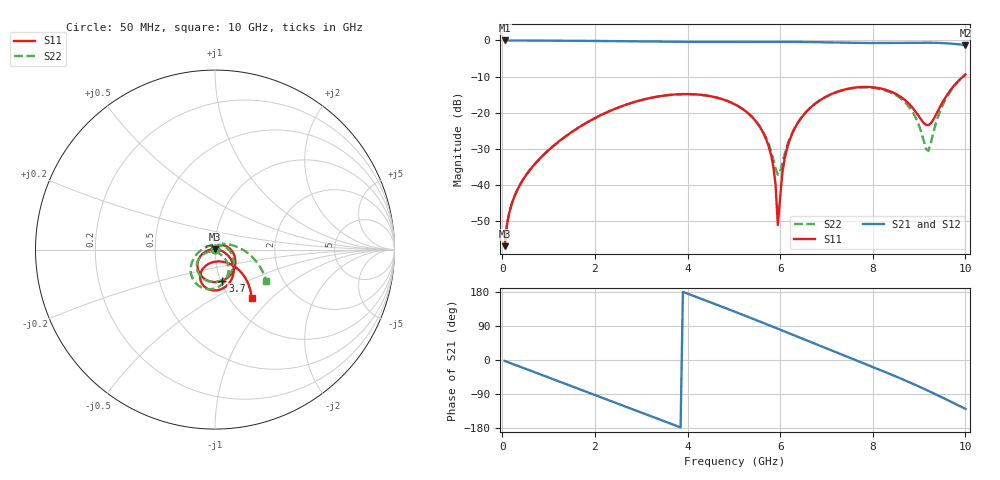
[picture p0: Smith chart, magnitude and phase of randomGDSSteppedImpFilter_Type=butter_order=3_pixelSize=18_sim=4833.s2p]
! freq	dB(S11)	phase(S11)	dB(S12)	phase(S12)
!  dB(S21)	phase(S21)	dB(S22)	phase(S22)
!S-par simulation data
#  GHz  S  DB  R 50
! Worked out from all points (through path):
!   200 points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, 50 MHz to 10 GHz, reference 50 ohm
!   highest |S21| = 0.00 dB at 50 MHz (marker M1); lowest = -1.3 dB at 10 GHz (marker M2)
!   group delay of S21, straight-line fit = 134 ps
!   lowest |S11| = -56.9 dB at 50 MHz (marker M3), VSWR 1.00, Z = 50 + j0.142 ohm
!   |S11| at or under -10 dB: start of sweep to 9.946 GHz
!   |S22| runs from -56.9 to -9.5 dB; largest |S21 - S12| = 0
!   S11 on the Smith chart (normalised r, x): 50 MHz: 1.00, +0.00; 3.7 GHz: 1.02, -0.37; 10 GHz: 1.25, -0.76
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0.05  -56.92 83.0  -0.00 -2.4  -0.00 -2.4  -56.93 82.6
0.2  -45.38 77.1  -0.02 -9.3  -0.02 -9.3  -45.37 75.4
0.45  -38.47 68.8  -0.03 -20.8  -0.03 -20.8  -38.47 65.0
1.75  -23.28 14.3  -0.11 -80.8  -0.11 -80.8  -23.33 6.1
2.5  -18.57 -20.8  -0.19 -115.5  -0.19 -115.5  -18.61 -28.5
3.4  -15.43 -62.8  -0.32 -157.1  -0.32 -157.1  -15.46 -69.4
3.7  -14.97 -76.8  -0.36 -171.0  -0.36 -171.0  -15.00 -82.8
4.35  -15.13 -106.9  -0.41 159.0  -0.41 159.0  -15.15 -111.6
5.05  -17.87 -139.8  -0.39 126.1  -0.39 126.1  -17.86 -141.8
5.5  -22.80 -161.6  -0.37 104.5  -0.37 104.5  -22.69 -158.2
5.75  -29.20 -174.7  -0.36 92.3  -0.36 92.3  -28.61 -159.2
5.9  -39.76 172.8  -0.36 85.0  -0.36 85.0  -35.34 -134.4
5.95  -51.08 115.9  -0.37 82.5  -0.37 82.5  -37.13 -108.1
6.05  -36.36 -2.2  -0.37 77.6  -0.37 77.6  -33.85 -57.7
6.15  -29.80 -9.7  -0.38 72.6  -0.38 72.6  -29.15 -43.0
6.7  -18.07 -38.0  -0.47 45.4  -0.47 45.4  -18.09 -53.0
7.5  -13.28 -75.7  -0.66 6.1  -0.66 6.1  -13.36 -89.3
8.35  -13.95 -111.8  -0.70 -35.8  -0.70 -35.8  -14.21 -132.3
8.85  -18.49 -121.9  -0.62 -61.9  -0.62 -61.9  -19.61 -166.0
9.2  -23.45 -79.8  -0.61 -81.4  -0.61 -81.4  -30.53 90.8
9.55  -16.17 -40.5  -0.75 -101.8  -0.75 -101.8  -16.85 2.2
10  -9.41 -53.0  -1.30 -128.8  -1.30 -128.8  -9.48 -31.6
